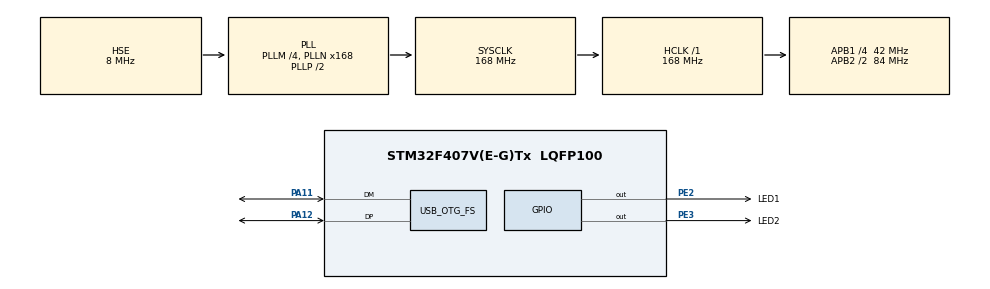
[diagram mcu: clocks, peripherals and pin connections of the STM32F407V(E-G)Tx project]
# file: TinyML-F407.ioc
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Mcu.Family=STM32F4
Mcu.Name=STM32F407V(E-G)Tx
Mcu.Package=LQFP100
NVIC.OTG_FS_IRQn=true\:0\:0\:false\:false\:true\:false\:true\:true
NVIC.PriorityGroup=NVIC_PRIORITYGROUP_4
PA11.Mode=Device_Only
PA11.Signal=USB_OTG_FS_DM
PA12.Mode=Device_Only
PA12.Signal=USB_OTG_FS_DP
PE2.GPIO_Label=LED1
PE2.Signal=GPIO_Output
PE3.GPIO_Label=LED2
PE3.Signal=GPIO_Output
PH0-OSC_IN.Mode=HSE-External-Oscillator
PH0-OSC_IN.Signal=RCC_OSC_IN
PH1-OSC_OUT.Mode=HSE-External-Oscillator
PH1-OSC_OUT.Signal=RCC_OSC_OUT
ProjectManager.HeapSize=0x200
ProjectManager.StackSize=0x400
ProjectManager.TargetToolchain=STM32CubeIDE
RCC.48MHZClocksFreq_Value=48000000
RCC.AHBFreq_Value=168000000
RCC.APB1CLKDivider=RCC_HCLK_DIV4
RCC.APB1Freq_Value=42000000
RCC.APB1TimFreq_Value=84000000
RCC.APB2CLKDivider=RCC_HCLK_DIV2
RCC.APB2Freq_Value=84000000
RCC.APB2TimFreq_Value=168000000
RCC.CortexFreq_Value=168000000
RCC.HCLKFreq_Value=168000000
RCC.HSE_VALUE=8000000
RCC.HSI_VALUE=16000000
RCC.LSE_VALUE=32768
RCC.PLLM=4
RCC.PLLN=168
RCC.PLLQ=7
RCC.SYSCLKFreq_VALUE=168000000
RCC.SYSCLKSource=RCC_SYSCLKSOURCE_PLLCLK
RCC.VCOOutputFreq_Value=336000000
TIM6.Prescaler=168-1
USB_DEVICE.CLASS_NAME_FS=CDC
USB_DEVICE.VirtualMode-CDC_FS=Cdc
USB_DEVICE.VirtualModeFS=Cdc_FS
USB_OTG_FS.VirtualMode=Device_Only
VP_TIM6_VS_ClockSourceINT.Mode=Enable_Timer
VP_USB_DEVICE_VS_USB_DEVICE_CDC_FS.Mode=CDC_FS
board=custom

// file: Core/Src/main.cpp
/* USER CODE BEGIN Header */
/**
  ******************************************************************************
  * @file           : main.c
  * @brief          : Main program body
  ******************************************************************************
  * @attention
  *
  * Copyright (c) 2022 STMicroelectronics.
  * All rights reserved.
  *
  * This software is licensed under terms that can be found in the LICENSE file
  * in the root directory of this software component.
  * If no LICENSE file comes with this software, it is provided AS-IS.
  *
  ******************************************************************************
  */
/* USER CODE END Header */
#include "main.h"
#include "usb_device.h"

/* USER CODE BEGIN Includes */
#include "usbd_cdc_if.h"
#include "tensorflow/lite/micro/kernels/micro_ops.h"
#include "tensorflow/lite/micro/all_ops_resolver.h"
#include "tensorflow/lite/micro/micro_error_reporter.h"
#include "tensorflow/lite/micro/micro_interpreter.h"
#include "tensorflow/lite/micro/micro_mutable_op_resolver.h"
#include "tensorflow/lite/version.h"
#include "model_data.h"

/* USER CODE END Includes */

TIM_HandleTypeDef htim6;

/* USER CODE BEGIN PV */
// TFLite globals
namespace {
  tflite::ErrorReporter* error_reporter = nullptr;
  const tflite::Model* model = nullptr;
  tflite::MicroInterpreter* interpreter = nullptr;
  TfLiteTensor* model_input = nullptr;
  TfLiteTensor* model_output = nullptr;

  // Create an area of memory to use for input, output, and other TensorFlow
  // arrays. You'll need to adjust this by compiling, running, and looking
  // for errors.
  constexpr int kTensorArenaSize = 2 * 1024;
  __attribute__((aligned(16)))uint8_t tensor_arena[kTensorArenaSize];
} // namespace
/* USER CODE END PV */

void SystemClock_Config(void);
static void MX_GPIO_Init(void);
static void MX_TIM6_Init(void);

int main(void)
{
  /* USER CODE BEGIN 1 */
	char buf[50];
	int buf_len = 0;
	TfLiteStatus tflite_status;
	uint32_t num_elements;
	uint32_t timestamp;
  float x_val, y_val, position;
  uint16 inference_count;
  uint16 kInferencesPerCycle = 1000;
  float kXrange = 2.f * 3.14159265359f;
  /* USER CODE END 1 */

  /* MCU Configuration--------------------------------------------------------*/

  /* Reset of all peripherals, Initializes the Flash interface and the Systick. */
  HAL_Init();

  /* Configure the system clock */
  SystemClock_Config();

  /* Initialize all configured peripherals */
  MX_GPIO_Init();
  MX_USB_DEVICE_Init();
  MX_TIM6_Init();
  /* USER CODE BEGIN 2 */

  // Set up logging (modify tensorflow/lite/micro/debug_log.cc)
    static tflite::MicroErrorReporter micro_error_reporter;
    error_reporter = &micro_error_reporter;

    // Say something to test error reporter
    error_reporter->Report("STM32 TensorFlow Lite test");

    // Map the model into a usable data structure
    model = tflite::GetModel(converted_model_tflite);
    if (model->version() != TFLITE_SCHEMA_VERSION)
    {
      error_reporter->Report("Model version does not match Schema");
      while(1);
    }

    // Pull in only needed operations (should match NN layers). Template parameter
    // <n> is number of ops to be added. Available ops:
    // tensorflow/lite/micro/kernels/micro_ops.h
    static tflite::AllOpsResolver micro_op_resolver;

    // Add dense neural network layer operation
//    tflite_status = tflite::AllOpsResolver micro_op_resolver;
//    if (tflite_status != kTfLiteOk)
//    {
//      error_reporter->Report("Could not add FULLY CONNECTED op");
//      while(1);
//    }

    // Build an interpreter to run the model with.
    static tflite::MicroInterpreter static_interpreter(
        model, micro_op_resolver, tensor_arena, kTensorArenaSize, error_reporter);
    interpreter = &static_interpreter;

    // Allocate memory from the tensor_arena for the model's tensors.
    tflite_status = interpreter->AllocateTensors();
    if (tflite_status != kTfLiteOk)
    {
      error_reporter->Report("AllocateTensors() failed");
      while(1);
    }

    // Assign model input and output buffers (tensors) to pointers
    model_input = interpreter->input(0);
    model_output = interpreter->output(0);

    // Get number of elements in input tensor
    num_elements = model_input->bytes / sizeof(float);
    buf_len = sprintf(buf, "Number of input elements: %lu\r\n", num_elements);
    CDC_Transmit_FS((uint8_t *)buf, buf_len);

  /* USER CODE END 2 */

  /* Infinite loop */
  /* USER CODE BEGIN WHILE */
  HAL_GPIO_WritePin(LED1_GPIO_Port, LED1_Pin, GPIO_PIN_SET);
  HAL_GPIO_WritePin(LED2_GPIO_Port, LED2_Pin, GPIO_PIN_RESET);

  while (1)
  {
    /* USER CODE END WHILE */

    /* USER CODE BEGIN 3 */
    position = static_cast<float>(inference_count)/static_cast<float>(kInferencesPerCycle);
    x_val = position * kXrange;
    timestamp = HAL_GetTick();

	  HAL_GPIO_TogglePin(LED1_GPIO_Port, LED1_Pin);
	  HAL_GPIO_TogglePin(LED2_GPIO_Port, LED2_Pin);

	  // Fill input buffer (use test value)
	  // for (uint32_t i = 0; i < num_elements; i++)
	  // {
		// model_input->data.f[i] = 2.0f;
	  // }
    model_input->data.f[0] = x_val;
	  // Get current timestamp
	  timestamp = htim6.Instance->CNT;

	  // Run inference
	  tflite_status = interpreter->Invoke();
	  if (tflite_status != kTfLiteOk)
	  {
		error_reporter->Report("Invoke failed");
	  }

	  // Read output (predicted y) of neural network
	  y_val = model_output->data.f[0];

	  // Print output of neural network along with inference time (microseconds)
	  buf_len = sprintf(buf,
						"Output: %f | Duration: %lu\r\n",
						y_val,
						htim6.Instance->CNT - timestamp);
	  CDC_Transmit_FS((uint8_t *)buf, buf_len);

	  // Wait before doing it again
	  HAL_Delay(500);
  }
  /* USER CODE END 3 */
}

void SystemClock_Config(void)
{
  RCC_OscInitTypeDef RCC_OscInitStruct = {0};
  RCC_ClkInitTypeDef RCC_ClkInitStruct = {0};

  /** Configure the main internal regulator output voltage
  */
  __HAL_RCC_PWR_CLK_ENABLE();
  __HAL_PWR_VOLTAGESCALING_CONFIG(PWR_REGULATOR_VOLTAGE_SCALE1);

  /** Initializes the RCC Oscillators according to the specified parameters
  * in the RCC_OscInitTypeDef structure.
  */
  RCC_OscInitStruct.OscillatorType = RCC_OSCILLATORTYPE_HSE;
  RCC_OscInitStruct.HSEState = RCC_HSE_ON;
  RCC_OscInitStruct.PLL.PLLState = RCC_PLL_ON;
  RCC_OscInitStruct.PLL.PLLSource = RCC_PLLSOURCE_HSE;
  RCC_OscInitStruct.PLL.PLLM = 4;
  RCC_OscInitStruct.PLL.PLLN = 168;
  RCC_OscInitStruct.PLL.PLLP = RCC_PLLP_DIV2;
  RCC_OscInitStruct.PLL.PLLQ = 7;
  if (HAL_RCC_OscConfig(&RCC_OscInitStruct) != HAL_OK)
  {
    Error_Handler();
  }

  /** Initializes the CPU, AHB and APB buses clocks
  */
  RCC_ClkInitStruct.ClockType = RCC_CLOCKTYPE_HCLK|RCC_CLOCKTYPE_SYSCLK
                              |RCC_CLOCKTYPE_PCLK1|RCC_CLOCKTYPE_PCLK2;
  RCC_ClkInitStruct.SYSCLKSource = RCC_SYSCLKSOURCE_PLLCLK;
  RCC_ClkInitStruct.AHBCLKDivider = RCC_SYSCLK_DIV1;
  RCC_ClkInitStruct.APB1CLKDivider = RCC_HCLK_DIV4;
  RCC_ClkInitStruct.APB2CLKDivider = RCC_HCLK_DIV2;

  if (HAL_RCC_ClockConfig(&RCC_ClkInitStruct, FLASH_LATENCY_5) != HAL_OK)
  {
    Error_Handler();
  }
}

static void MX_TIM6_Init(void)
{

  TIM_MasterConfigTypeDef sMasterConfig = {0};

  htim6.Instance = TIM6;
  htim6.Init.Prescaler = 168-1;
  htim6.Init.CounterMode = TIM_COUNTERMODE_UP;
  htim6.Init.Period = 65535;
  htim6.Init.AutoReloadPreload = TIM_AUTORELOAD_PRELOAD_DISABLE;
  if (HAL_TIM_Base_Init(&htim6) != HAL_OK)
  {
    Error_Handler();
  }
  sMasterConfig.MasterOutputTrigger = TIM_TRGO_RESET;
  sMasterConfig.MasterSlaveMode = TIM_MASTERSLAVEMODE_DISABLE;
  if (HAL_TIMEx_MasterConfigSynchronization(&htim6, &sMasterConfig) != HAL_OK)
  {
    Error_Handler();
  }

}

static void MX_GPIO_Init(void)
{
  GPIO_InitTypeDef GPIO_InitStruct = {0};

  /* GPIO Ports Clock Enable */
  __HAL_RCC_GPIOE_CLK_ENABLE();
  __HAL_RCC_GPIOH_CLK_ENABLE();
  __HAL_RCC_GPIOA_CLK_ENABLE();

  /*Configure GPIO pin Output Level */
  HAL_GPIO_WritePin(GPIOE, LED1_Pin|LED2_Pin, GPIO_PIN_RESET);

  /*Configure GPIO pins : LED1_Pin LED2_Pin */
  GPIO_InitStruct.Pin = LED1_Pin|LED2_Pin;
  GPIO_InitStruct.Mode = GPIO_MODE_OUTPUT_PP;
  GPIO_InitStruct.Pull = GPIO_NOPULL;
  GPIO_InitStruct.Speed = GPIO_SPEED_FREQ_LOW;
  HAL_GPIO_Init(GPIOE, &GPIO_InitStruct);

}

void Error_Handler(void)
{
  __disable_irq();
  while (1)
  {
  }
}
